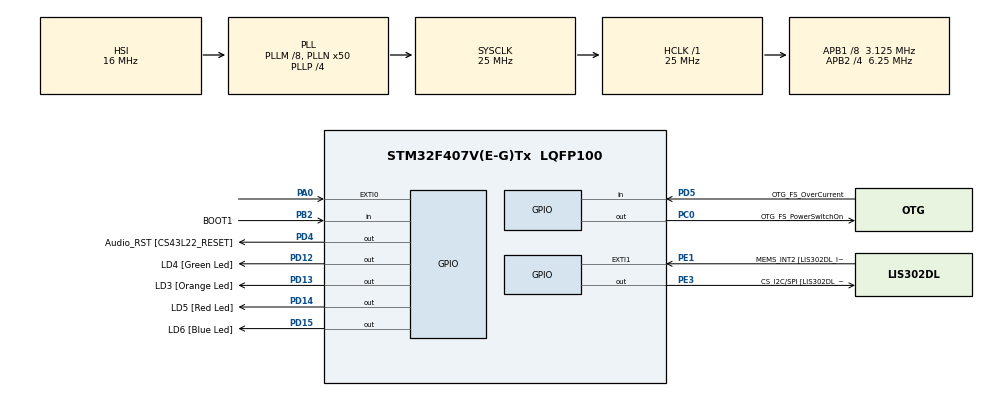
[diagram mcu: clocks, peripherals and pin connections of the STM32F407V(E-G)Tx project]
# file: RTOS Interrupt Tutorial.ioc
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FREERTOS.Tasks01=defaultTask,0,128,StartDefaultTask,Default,NULL
Mcu.Family=STM32F4
Mcu.Name=STM32F407V(E-G)Tx
Mcu.Package=LQFP100
NVIC.EXTI0_IRQn=true\:0\:0\:false\:false\:true\:false\:true
NVIC.PriorityGroup=NVIC_PRIORITYGROUP_4
NVIC.TIM6_DAC_IRQn=true\:0\:0\:false\:false\:true\:false\:false
NVIC.TimeBase=TIM6_DAC_IRQn
NVIC.TimeBaseIP=TIM6
PA0-WKUP.GPIO_ModeDefaultEXTI=GPIO_MODE_IT_RISING_FALLING
PA0-WKUP.Signal=GPXTI0
PA10.GPIO_Label=OTG_FS_ID
PA10.GPIO_Mode=GPIO_MODE_AF_PP
PA10.GPIO_PuPd=GPIO_NOPULL
PA10.GPIO_Speed=GPIO_SPEED_FREQ_LOW
PA10.Signal=USB_OTG_FS_ID
PA11.GPIO_Label=OTG_FS_DM
PA11.GPIO_Mode=GPIO_MODE_AF_PP
PA11.GPIO_PuPd=GPIO_NOPULL
PA11.GPIO_Speed=GPIO_SPEED_FREQ_LOW
PA11.Signal=USB_OTG_FS_DM
PA12.GPIO_Label=OTG_FS_DP
PA12.GPIO_Mode=GPIO_MODE_AF_PP
PA12.GPIO_PuPd=GPIO_NOPULL
PA12.GPIO_Speed=GPIO_SPEED_FREQ_LOW
PA12.Signal=USB_OTG_FS_DP
PA13.GPIO_Label=SWDIO
PA13.Signal=SYS_JTMS-SWDIO
PA14.GPIO_Label=SWCLK
PA14.Signal=SYS_JTCK-SWCLK
PA4.GPIO_Label=I2S3_WS [CS43L22_LRCK]
PA4.GPIO_Mode=GPIO_MODE_AF_PP
PA4.GPIO_PuPd=GPIO_NOPULL
PA4.GPIO_Speed=GPIO_SPEED_FREQ_LOW
PA4.Signal=I2S3_WS
PA5.GPIO_Label=SPI1_SCK [LIS302DL_SCL/SPC]
PA5.GPIO_Mode=GPIO_MODE_AF_PP
PA5.GPIO_PuPd=GPIO_NOPULL
PA5.GPIO_Speed=GPIO_SPEED_FREQ_LOW
PA5.Signal=SPI1_SCK
PA6.GPIO_Label=SPI1_MISO [LIS302DL_SDO]
PA6.GPIO_Mode=GPIO_MODE_AF_PP
PA6.GPIO_PuPd=GPIO_NOPULL
PA6.GPIO_Speed=GPIO_SPEED_FREQ_LOW
PA6.Signal=SPI1_MISO
PA7.GPIO_Label=SPI1_MOSI [LIS302DL_SDA/SDI/SDO]
PA7.GPIO_Mode=GPIO_MODE_AF_PP
PA7.GPIO_PuPd=GPIO_NOPULL
PA7.GPIO_Speed=GPIO_SPEED_FREQ_LOW
PA7.Signal=SPI1_MOSI
PA9.GPIO_Label=VBUS_FS
PA9.GPIO_Mode=GPIO_MODE_INPUT
PA9.GPIO_PuPd=GPIO_NOPULL
PA9.Signal=USB_OTG_FS_VBUS
PB10.GPIO_Label=CLK_IN [MP45DT02_CLK]
PB10.GPIO_Mode=GPIO_MODE_AF_PP
PB10.GPIO_PuPd=GPIO_NOPULL
PB10.GPIO_Speed=GPIO_SPEED_FREQ_LOW
PB10.Signal=I2S2_CK
PB2.GPIO_Label=BOOT1
PB2.GPIO_Mode=GPIO_MODE_INPUT
PB2.GPIO_PuPd=GPIO_NOPULL
PB2.Signal=GPIO_Input
PB3.GPIO_Label=SWO
PB3.Signal=SYS_JTDO-SWO
PB6.GPIO_Label=Audio_SCL [CS43L22_SCL]
PB6.GPIO_Mode=GPIO_MODE_AF_OD
PB6.GPIO_PuPd=GPIO_NOPULL
PB6.GPIO_Speed=GPIO_SPEED_FREQ_LOW
PB6.Signal=I2C1_SCL
PB9.GPIO_Label=Audio_SDA [CS43L22_SDA]
PB9.GPIO_Mode=GPIO_MODE_AF_OD
PB9.GPIO_PuPd=GPIO_NOPULL
PB9.GPIO_Speed=GPIO_SPEED_FREQ_LOW
PB9.Signal=I2C1_SDA
PC0.GPIO_Label=OTG_FS_PowerSwitchOn
PC0.GPIO_PuPd=GPIO_NOPULL
PC0.GPIO_Speed=GPIO_SPEED_FREQ_LOW
PC0.PinState=GPIO_PIN_SET
PC0.Signal=GPIO_Output
PC10.GPIO_Label=I2S3_SCK [CS43L22_SCLK]
PC10.GPIO_Mode=GPIO_MODE_AF_PP
PC10.GPIO_PuPd=GPIO_NOPULL
PC10.GPIO_Speed=GPIO_SPEED_FREQ_LOW
PC10.Signal=I2S3_CK
PC12.GPIO_Label=I2S3_SD [CS43L22_SDIN]
PC12.GPIO_Mode=GPIO_MODE_AF_PP
PC12.GPIO_PuPd=GPIO_NOPULL
PC12.GPIO_Speed=GPIO_SPEED_FREQ_LOW
PC12.Signal=I2S3_SD
PC14-OSC32_IN.GPIO_Label=PC14-OSC32_IN
PC14-OSC32_IN.Signal=RCC_OSC32_IN
PC15-OSC32_OUT.GPIO_Label=PC15-OSC32_OUT
PC15-OSC32_OUT.Signal=RCC_OSC32_OUT
PC3.GPIO_Label=PDM_OUT [MP45DT02_DOUT]
PC3.GPIO_Mode=GPIO_MODE_AF_PP
PC3.GPIO_PuPd=GPIO_NOPULL
PC3.GPIO_Speed=GPIO_SPEED_FREQ_LOW
PC3.Signal=I2S2_SD
PC7.GPIO_Label=I2S3_MCK [CS43L22_MCLK]
PC7.GPIO_Mode=GPIO_MODE_AF_PP
PC7.GPIO_PuPd=GPIO_NOPULL
PC7.GPIO_Speed=GPIO_SPEED_FREQ_LOW
PC7.Signal=I2S3_MCK
PD12.GPIO_Label=LD4 [Green Led]
PD12.GPIO_PuPd=GPIO_NOPULL
PD12.GPIO_Speed=GPIO_SPEED_FREQ_LOW
PD12.Signal=GPIO_Output
PD13.GPIO_Label=LD3 [Orange Led]
PD13.GPIO_PuPd=GPIO_NOPULL
PD13.GPIO_Speed=GPIO_SPEED_FREQ_LOW
PD13.Signal=GPIO_Output
PD14.GPIO_Label=LD5 [Red Led]
PD14.GPIO_PuPd=GPIO_NOPULL
PD14.GPIO_Speed=GPIO_SPEED_FREQ_LOW
PD14.Signal=GPIO_Output
PD15.GPIO_Label=LD6 [Blue Led]
PD15.GPIO_PuPd=GPIO_NOPULL
PD15.GPIO_Speed=GPIO_SPEED_FREQ_LOW
PD15.Signal=GPIO_Output
PD4.GPIO_Label=Audio_RST [CS43L22_RESET]
PD4.GPIO_PuPd=GPIO_NOPULL
PD4.GPIO_Speed=GPIO_SPEED_FREQ_LOW
PD4.Signal=GPIO_Output
PD5.GPIO_Label=OTG_FS_OverCurrent
PD5.GPIO_Mode=GPIO_MODE_INPUT
PD5.GPIO_PuPd=GPIO_NOPULL
PD5.Signal=GPIO_Input
PE1.GPIO_Label=MEMS_INT2 [LIS302DL_INT2]
PE1.GPIO_ModeDefaultEXTI=GPIO_MODE_EVT_RISING
PE1.GPIO_PuPd=GPIO_NOPULL
PE1.Signal=GPXTI1
PE3.GPIO_Label=CS_I2C/SPI [LIS302DL_CS_I2C/SPI]
PE3.GPIO_PuPd=GPIO_NOPULL
PE3.GPIO_Speed=GPIO_SPEED_FREQ_LOW
PE3.Signal=GPIO_Output
PH0-OSC_IN.GPIO_Label=PH0-OSC_IN
PH0-OSC_IN.Signal=RCC_OSC_IN
PH1-OSC_OUT.GPIO_Label=PH1-OSC_OUT
PH1-OSC_OUT.Signal=RCC_OSC_OUT
ProjectManager.HeapSize=0x200
ProjectManager.StackSize=0x400
ProjectManager.TargetToolchain=SW4STM32
RCC.48MHZClocksFreq_Value=14285714.285714285
RCC.AHBFreq_Value=25000000
RCC.APB1CLKDivider=RCC_HCLK_DIV8
RCC.APB1Freq_Value=3125000
RCC.APB1TimFreq_Value=6250000
RCC.APB2CLKDivider=RCC_HCLK_DIV4
RCC.APB2Freq_Value=6250000
RCC.APB2TimFreq_Value=12500000
RCC.CortexFreq_Value=25000000
RCC.HCLKFreq_Value=25000000
RCC.HSE_VALUE=8000000
RCC.HSI_VALUE=16000000
RCC.LSE_VALUE=32768
RCC.PLLM=8
RCC.PLLN=50
RCC.PLLP=RCC_PLLP_DIV4
RCC.PLLQ=7
RCC.SYSCLKFreq_VALUE=25000000
RCC.SYSCLKSource=RCC_SYSCLKSOURCE_PLLCLK
RCC.VCOOutputFreq_Value=100000000
VP_FREERTOS_VS_ENABLE.Mode=Enabled
VP_SYS_VS_tim6.Mode=TIM6
board=STM32F4DISCOVERY

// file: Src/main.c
/**
  ******************************************************************************
  * File Name          : main.c
  * Description        : Main program body
  ******************************************************************************
  * This notice applies to any and all portions of this file
  * that are not between comment pairs USER CODE BEGIN and
  * USER CODE END. Other portions of this file, whether
  * inserted by the user or by software development tools
  * are owned by their respective copyright owners.
  *
  * Copyright (c) 2017 STMicroelectronics International N.V.
  * All rights reserved.
  *
  * Redistribution and use in source and binary forms, with or without
  * modification, are permitted, provided that the following conditions are met:
  *
  * 1. Redistribution of source code must retain the above copyright notice,
  *    this list of conditions and the following disclaimer.
  * 2. Redistributions in binary form must reproduce the above copyright notice,
  *    this list of conditions and the following disclaimer in the documentation
  *    and/or other materials provided with the distribution.
  * 3. Neither the name of STMicroelectronics nor the names of other
  *    contributors to this software may be used to endorse or promote products
  *    derived from this software without specific written permission.
  * 4. This software, including modifications and/or derivative works of this
  *    software, must execute solely and exclusively on microcontroller or
  *    microprocessor devices manufactured by or for STMicroelectronics.
  * 5. Redistribution and use of this software other than as permitted under
  *    this license is void and will automatically terminate your rights under
  *    this license.
  *
  * THIS SOFTWARE IS PROVIDED BY STMICROELECTRONICS AND CONTRIBUTORS "AS IS"
  * AND ANY EXPRESS, IMPLIED OR STATUTORY WARRANTIES, INCLUDING, BUT NOT
  * LIMITED TO, THE IMPLIED WARRANTIES OF MERCHANTABILITY, FITNESS FOR A
  * PARTICULAR PURPOSE AND NON-INFRINGEMENT OF THIRD PARTY INTELLECTUAL PROPERTY
  * RIGHTS ARE DISCLAIMED TO THE FULLEST EXTENT PERMITTED BY LAW. IN NO EVENT
  * SHALL STMICROELECTRONICS OR CONTRIBUTORS BE LIABLE FOR ANY DIRECT, INDIRECT,
  * INCIDENTAL, SPECIAL, EXEMPLARY, OR CONSEQUENTIAL DAMAGES (INCLUDING, BUT NOT
  * LIMITED TO, PROCUREMENT OF SUBSTITUTE GOODS OR SERVICES; LOSS OF USE, DATA,
  * OR PROFITS; OR BUSINESS INTERRUPTION) HOWEVER CAUSED AND ON ANY THEORY OF
  * LIABILITY, WHETHER IN CONTRACT, STRICT LIABILITY, OR TORT (INCLUDING
  * NEGLIGENCE OR OTHERWISE) ARISING IN ANY WAY OUT OF THE USE OF THIS SOFTWARE,
  * EVEN IF ADVISED OF THE POSSIBILITY OF SUCH DAMAGE.
  *
  ******************************************************************************
  */
#include "main.h"
#include "stm32f4xx_hal.h"
#include "cmsis_os.h"

osThreadId defaultTaskHandle;

/* USER CODE BEGIN PV */
/* Private variables ---------------------------------------------------------*/

/* USER CODE END PV */

void SystemClock_Config(void);
static void MX_GPIO_Init(void);
void StartDefaultTask(void const * argument);

/* USER CODE BEGIN PFP */
/* Private function prototypes -----------------------------------------------*/

/* USER CODE END PFP */

/* USER CODE BEGIN 0 */

void delay(int time);

void delay(int time) {
	for(int x = time; x > 0; x--);
}

void t_Blink_LED1(void * p) {
	for(;;) {
		for(int y = 0; y < 5; y++) { //blink on and off 5 times then complete
			HAL_GPIO_WritePin(GPIOD, LD4_Pin, GPIO_PIN_SET);
			delay(1000000000);
			HAL_GPIO_WritePin(GPIOD, LD4_Pin, GPIO_PIN_RESET);
			delay(1000000000);
		}
		vTaskDelay(1000);
	}
}

void t_Blink_LED4(void* p) { //alll functions that are being used as tasks put a t_ in front of the name
	for(;;) {
		vTaskSuspend(NULL); //suspned the task

		//blink 4 times and then stop until interrupted
		vTaskSuspend(t_Blink_LED1); //stop the other task from running
		for(int y = 0; y < 5; y++) { //blink on and off 5 times then complete
			HAL_GPIO_WritePin(GPIOD, LD6_Pin, GPIO_PIN_SET);
			delay(1000000000);
			HAL_GPIO_WritePin(GPIOD, LD6_Pin, GPIO_PIN_RESET);
			delay(1000000000);
		}

		vTaskResume(t_Blink_LED1); //re-enable the original task

	}
}
/* USER CODE END 0 */

int main(void)
{

  /* MCU Configuration----------------------------------------------------------*/

  /* Reset of all peripherals, Initializes the Flash interface and the Systick. */
  HAL_Init();

  /* Configure the system clock */
  SystemClock_Config();

  /* Initialize all configured peripherals */
  MX_GPIO_Init();

  /* USER CODE BEGIN 2 */

  xTaskCreate(t_Blink_LED1, "led_blink1", configMINIMAL_STACK_SIZE, 0, 2, 0);
  xTaskCreate(t_Blink_LED4, "led_blink4", configMINIMAL_STACK_SIZE, 0, 2, 0);

  /* USER CODE END 2 */

  /* Create the thread(s) */
  /* definition and creation of defaultTask */
  osThreadDef(defaultTask, StartDefaultTask, osPriorityNormal, 0, 128);
  defaultTaskHandle = osThreadCreate(osThread(defaultTask), NULL);

  /* Start scheduler */
  osKernelStart();

  /* We should never get here as control is now taken by the scheduler */

  /* Infinite loop */
  while (1)
  {

  }

}

/** System Clock Configuration
*/
void SystemClock_Config(void)
{

  RCC_OscInitTypeDef RCC_OscInitStruct;
  RCC_ClkInitTypeDef RCC_ClkInitStruct;

    /**Configure the main internal regulator output voltage
    */
  __HAL_RCC_PWR_CLK_ENABLE();

  __HAL_PWR_VOLTAGESCALING_CONFIG(PWR_REGULATOR_VOLTAGE_SCALE1);

    /**Initializes the CPU, AHB and APB busses clocks
    */
  RCC_OscInitStruct.OscillatorType = RCC_OSCILLATORTYPE_HSI;
  RCC_OscInitStruct.HSIState = RCC_HSI_ON;
  RCC_OscInitStruct.HSICalibrationValue = 16;
  RCC_OscInitStruct.PLL.PLLState = RCC_PLL_ON;
  RCC_OscInitStruct.PLL.PLLSource = RCC_PLLSOURCE_HSI;
  RCC_OscInitStruct.PLL.PLLM = 8;
  RCC_OscInitStruct.PLL.PLLN = 50;
  RCC_OscInitStruct.PLL.PLLP = RCC_PLLP_DIV4;
  RCC_OscInitStruct.PLL.PLLQ = 7;
  if (HAL_RCC_OscConfig(&RCC_OscInitStruct) != HAL_OK)
  {
    _Error_Handler(__FILE__, __LINE__);
  }

    /**Initializes the CPU, AHB and APB busses clocks
    */
  RCC_ClkInitStruct.ClockType = RCC_CLOCKTYPE_HCLK|RCC_CLOCKTYPE_SYSCLK
                              |RCC_CLOCKTYPE_PCLK1|RCC_CLOCKTYPE_PCLK2;
  RCC_ClkInitStruct.SYSCLKSource = RCC_SYSCLKSOURCE_PLLCLK;
  RCC_ClkInitStruct.AHBCLKDivider = RCC_SYSCLK_DIV1;
  RCC_ClkInitStruct.APB1CLKDivider = RCC_HCLK_DIV8;
  RCC_ClkInitStruct.APB2CLKDivider = RCC_HCLK_DIV4;

  if (HAL_RCC_ClockConfig(&RCC_ClkInitStruct, FLASH_LATENCY_0) != HAL_OK)
  {
    _Error_Handler(__FILE__, __LINE__);
  }

    /**Configure the Systick interrupt time
    */
  HAL_SYSTICK_Config(HAL_RCC_GetHCLKFreq()/1000);

    /**Configure the Systick
    */
  HAL_SYSTICK_CLKSourceConfig(SYSTICK_CLKSOURCE_HCLK);

  /* SysTick_IRQn interrupt configuration */
  HAL_NVIC_SetPriority(SysTick_IRQn, 15, 0);
}

/** Configure pins as
        * Analog
        * Input
        * Output
        * EVENT_OUT
        * EXTI
     PC3   ------> I2S2_SD
     PA4   ------> I2S3_WS
     PA5   ------> SPI1_SCK
     PA6   ------> SPI1_MISO
     PA7   ------> SPI1_MOSI
     PB10   ------> I2S2_CK
     PC7   ------> I2S3_MCK
     PA9   ------> USB_OTG_FS_VBUS
     PA10   ------> USB_OTG_FS_ID
     PA11   ------> USB_OTG_FS_DM
     PA12   ------> USB_OTG_FS_DP
     PC10   ------> I2S3_CK
     PC12   ------> I2S3_SD
     PB6   ------> I2C1_SCL
     PB9   ------> I2C1_SDA
*/
static void MX_GPIO_Init(void)
{

  GPIO_InitTypeDef GPIO_InitStruct;

  /* GPIO Ports Clock Enable */
  __HAL_RCC_GPIOE_CLK_ENABLE();
  __HAL_RCC_GPIOC_CLK_ENABLE();
  __HAL_RCC_GPIOH_CLK_ENABLE();
  __HAL_RCC_GPIOA_CLK_ENABLE();
  __HAL_RCC_GPIOB_CLK_ENABLE();
  __HAL_RCC_GPIOD_CLK_ENABLE();

  /*Configure GPIO pin Output Level */
  HAL_GPIO_WritePin(CS_I2C_SPI_GPIO_Port, CS_I2C_SPI_Pin, GPIO_PIN_RESET);

  /*Configure GPIO pin Output Level */
  HAL_GPIO_WritePin(OTG_FS_PowerSwitchOn_GPIO_Port, OTG_FS_PowerSwitchOn_Pin, GPIO_PIN_SET);

  /*Configure GPIO pin Output Level */
  HAL_GPIO_WritePin(GPIOD, LD4_Pin|LD3_Pin|LD5_Pin|LD6_Pin
                          |Audio_RST_Pin, GPIO_PIN_RESET);

  /*Configure GPIO pin : CS_I2C_SPI_Pin */
  GPIO_InitStruct.Pin = CS_I2C_SPI_Pin;
  GPIO_InitStruct.Mode = GPIO_MODE_OUTPUT_PP;
  GPIO_InitStruct.Pull = GPIO_NOPULL;
  GPIO_InitStruct.Speed = GPIO_SPEED_FREQ_LOW;
  HAL_GPIO_Init(CS_I2C_SPI_GPIO_Port, &GPIO_InitStruct);

  /*Configure GPIO pin : OTG_FS_PowerSwitchOn_Pin */
  GPIO_InitStruct.Pin = OTG_FS_PowerSwitchOn_Pin;
  GPIO_InitStruct.Mode = GPIO_MODE_OUTPUT_PP;
  GPIO_InitStruct.Pull = GPIO_NOPULL;
  GPIO_InitStruct.Speed = GPIO_SPEED_FREQ_LOW;
  HAL_GPIO_Init(OTG_FS_PowerSwitchOn_GPIO_Port, &GPIO_InitStruct);

  /*Configure GPIO pin : PDM_OUT_Pin */
  GPIO_InitStruct.Pin = PDM_OUT_Pin;
  GPIO_InitStruct.Mode = GPIO_MODE_AF_PP;
  GPIO_InitStruct.Pull = GPIO_NOPULL;
  GPIO_InitStruct.Speed = GPIO_SPEED_FREQ_LOW;
  GPIO_InitStruct.Alternate = GPIO_AF5_SPI2;
  HAL_GPIO_Init(PDM_OUT_GPIO_Port, &GPIO_InitStruct);

  /*Configure GPIO pin : PA0 */
  GPIO_InitStruct.Pin = GPIO_PIN_0;
  GPIO_InitStruct.Mode = GPIO_MODE_IT_RISING_FALLING;
  GPIO_InitStruct.Pull = GPIO_NOPULL;
  HAL_GPIO_Init(GPIOA, &GPIO_InitStruct);

  /*Configure GPIO pin : I2S3_WS_Pin */
  GPIO_InitStruct.Pin = I2S3_WS_Pin;
  GPIO_InitStruct.Mode = GPIO_MODE_AF_PP;
  GPIO_InitStruct.Pull = GPIO_NOPULL;
  GPIO_InitStruct.Speed = GPIO_SPEED_FREQ_LOW;
  GPIO_InitStruct.Alternate = GPIO_AF6_SPI3;
  HAL_GPIO_Init(I2S3_WS_GPIO_Port, &GPIO_InitStruct);

  /*Configure GPIO pins : SPI1_SCK_Pin SPI1_MISO_Pin SPI1_MOSI_Pin */
  GPIO_InitStruct.Pin = SPI1_SCK_Pin|SPI1_MISO_Pin|SPI1_MOSI_Pin;
  GPIO_InitStruct.Mode = GPIO_MODE_AF_PP;
  GPIO_InitStruct.Pull = GPIO_NOPULL;
  GPIO_InitStruct.Speed = GPIO_SPEED_FREQ_LOW;
  GPIO_InitStruct.Alternate = GPIO_AF5_SPI1;
  HAL_GPIO_Init(GPIOA, &GPIO_InitStruct);

  /*Configure GPIO pin : BOOT1_Pin */
  GPIO_InitStruct.Pin = BOOT1_Pin;
  GPIO_InitStruct.Mode = GPIO_MODE_INPUT;
  GPIO_InitStruct.Pull = GPIO_NOPULL;
  HAL_GPIO_Init(BOOT1_GPIO_Port, &GPIO_InitStruct);

  /*Configure GPIO pin : CLK_IN_Pin */
  GPIO_InitStruct.Pin = CLK_IN_Pin;
  GPIO_InitStruct.Mode = GPIO_MODE_AF_PP;
  GPIO_InitStruct.Pull = GPIO_NOPULL;
  GPIO_InitStruct.Speed = GPIO_SPEED_FREQ_LOW;
  GPIO_InitStruct.Alternate = GPIO_AF5_SPI2;
  HAL_GPIO_Init(CLK_IN_GPIO_Port, &GPIO_InitStruct);

  /*Configure GPIO pins : LD4_Pin LD3_Pin LD5_Pin LD6_Pin
                           Audio_RST_Pin */
  GPIO_InitStruct.Pin = LD4_Pin|LD3_Pin|LD5_Pin|LD6_Pin
                          |Audio_RST_Pin;
  GPIO_InitStruct.Mode = GPIO_MODE_OUTPUT_PP;
  GPIO_InitStruct.Pull = GPIO_NOPULL;
  GPIO_InitStruct.Speed = GPIO_SPEED_FREQ_LOW;
  HAL_GPIO_Init(GPIOD, &GPIO_InitStruct);

  /*Configure GPIO pins : I2S3_MCK_Pin I2S3_SCK_Pin I2S3_SD_Pin */
  GPIO_InitStruct.Pin = I2S3_MCK_Pin|I2S3_SCK_Pin|I2S3_SD_Pin;
  GPIO_InitStruct.Mode = GPIO_MODE_AF_PP;
  GPIO_InitStruct.Pull = GPIO_NOPULL;
  GPIO_InitStruct.Speed = GPIO_SPEED_FREQ_LOW;
  GPIO_InitStruct.Alternate = GPIO_AF6_SPI3;
  HAL_GPIO_Init(GPIOC, &GPIO_InitStruct);

  /*Configure GPIO pin : VBUS_FS_Pin */
  GPIO_InitStruct.Pin = VBUS_FS_Pin;
  GPIO_InitStruct.Mode = GPIO_MODE_INPUT;
  GPIO_InitStruct.Pull = GPIO_NOPULL;
  HAL_GPIO_Init(VBUS_FS_GPIO_Port, &GPIO_InitStruct);

  /*Configure GPIO pins : OTG_FS_ID_Pin OTG_FS_DM_Pin OTG_FS_DP_Pin */
  GPIO_InitStruct.Pin = OTG_FS_ID_Pin|OTG_FS_DM_Pin|OTG_FS_DP_Pin;
  GPIO_InitStruct.Mode = GPIO_MODE_AF_PP;
  GPIO_InitStruct.Pull = GPIO_NOPULL;
  GPIO_InitStruct.Speed = GPIO_SPEED_FREQ_LOW;
  GPIO_InitStruct.Alternate = GPIO_AF10_OTG_FS;
  HAL_GPIO_Init(GPIOA, &GPIO_InitStruct);

  /*Configure GPIO pin : OTG_FS_OverCurrent_Pin */
  GPIO_InitStruct.Pin = OTG_FS_OverCurrent_Pin;
  GPIO_InitStruct.Mode = GPIO_MODE_INPUT;
  GPIO_InitStruct.Pull = GPIO_NOPULL;
  HAL_GPIO_Init(OTG_FS_OverCurrent_GPIO_Port, &GPIO_InitStruct);

  /*Configure GPIO pins : Audio_SCL_Pin Audio_SDA_Pin */
  GPIO_InitStruct.Pin = Audio_SCL_Pin|Audio_SDA_Pin;
  GPIO_InitStruct.Mode = GPIO_MODE_AF_OD;
  GPIO_InitStruct.Pull = GPIO_PULLUP;
  GPIO_InitStruct.Speed = GPIO_SPEED_FREQ_LOW;
  GPIO_InitStruct.Alternate = GPIO_AF4_I2C1;
  HAL_GPIO_Init(GPIOB, &GPIO_InitStruct);

  /*Configure GPIO pin : MEMS_INT2_Pin */
  GPIO_InitStruct.Pin = MEMS_INT2_Pin;
  GPIO_InitStruct.Mode = GPIO_MODE_EVT_RISING;
  GPIO_InitStruct.Pull = GPIO_NOPULL;
  HAL_GPIO_Init(MEMS_INT2_GPIO_Port, &GPIO_InitStruct);

  /* EXTI interrupt init*/
  HAL_NVIC_SetPriority(EXTI0_IRQn, 0, 0);
  HAL_NVIC_EnableIRQ(EXTI0_IRQn);

}

/* StartDefaultTask function */
void StartDefaultTask(void const * argument)
{

  for(;;)
  {
    osDelay(1);
  }
}

void HAL_TIM_PeriodElapsedCallback(TIM_HandleTypeDef *htim)
{
  if (htim->Instance == TIM6) {
    HAL_IncTick();
  }
}

void _Error_Handler(char * file, int line)
{
  while(1)
  {
  }
}

/************************ (C) COPYRIGHT STMicroelectronics *****END OF FILE****/
